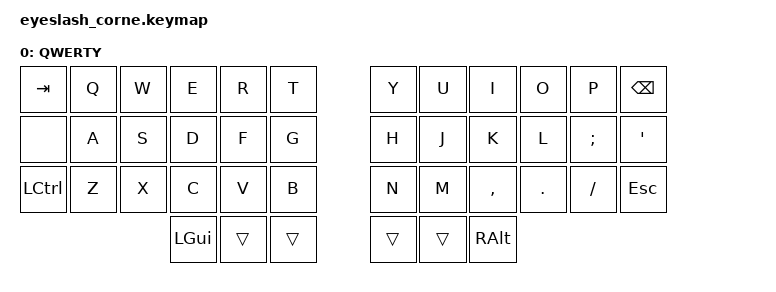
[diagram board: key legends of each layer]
#define ZMK_POINTING_DEFAULT_MOVE_VAL 1200  // 600
#define ZMK_POINTING_DEFAULT_SCRL_VAL 25   // 10

#include <input/processors.dtsi>
#include <zephyr/dt-bindings/input/input-event-codes.h>
#include <behaviors.dtsi>
#include <dt-bindings/zmk/keys.h>

&mmv_input_listener { input-processors = <&zip_xy_scaler 2 1>; };

&msc_input_listener { input-processors = <&zip_scroll_scaler 2 1>; };

/ {
    keymap {
        compatible = "zmk,keymap";

        default_layer {
            display-name = "QWERTY";
            bindings = <
&kp TAB    &kp Q  &kp W  &kp E     &kp R   &kp T             &kp Y   &kp U   &kp I      &kp O    &kp P     &kp BSPC
&none      &kp A  &kp S  &kp D     &kp F   &kp G             &kp H   &kp J   &kp K      &kp L    &kp SEMI  &kp SQT
&kp LCTRL  &kp Z  &kp X  &kp C     &kp V   &kp B             &kp N   &kp M   &kp COMMA  &kp DOT  &kp FSLH  &kp ESC
                         &kp LGUI  &trans  &trans            &trans  &trans  &kp RALT
            >;
        };
    };
};
